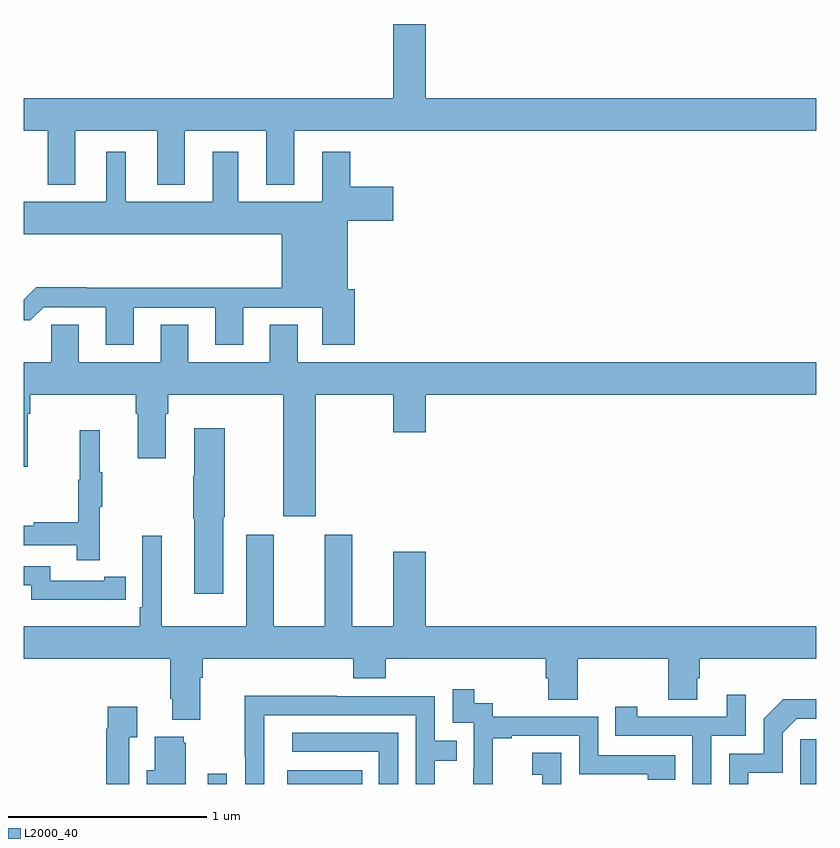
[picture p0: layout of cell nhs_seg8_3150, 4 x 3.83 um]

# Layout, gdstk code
import gdstk
lib = gdstk.Library(unit=1e-6, precision=1e-09)
def R(c, l, rs):  # rectangles x0, y0, x1, y1
    for r in rs: c.add(gdstk.rectangle(r[:2], r[2:], *l))
def P(c, l, *ps):  # polygons
    for p in ps: c.add(gdstk.Polygon(p, *l))
L2000_40 = (2000, 40)

nhs_seg8_3150 = lib.new_cell('nhs_seg8_3150')
R(nhs_seg8_3150, L2000_40, [(307.929,1083.9,308.025,1083.952), (308.33,1083.9,308.708,1083.97), (310.92,1083.9,311,1084.126)])
P(nhs_seg8_3150, L2000_40, [(307.261,1087.196),(307.673,1087.196),(307.673,1086.923),(307.813,1086.923),(307.813,1087.196),(308.225,1087.196),(308.225,1086.923),(308.365,1086.923),(308.365,1087.196),(311,1087.196),(311,1087.36),(309.028,1087.36),(309.028,1087.735),(308.864,1087.735),(308.864,1087.36),(307,1087.36),(307,1087.196),(307.121,1087.196),(307.121,1086.923),(307.261,1086.923)],
  [(307.555,1086.303),(307.967,1086.303),(307.967,1086.117),(308.107,1086.117),(308.107,1086.303),(308.507,1086.303),(308.507,1086.117),(308.672,1086.117),(308.672,1086.396),(308.635,1086.396),(308.635,1086.743),(308.866,1086.743),(308.866,1086.913),(308.648,1086.913),(308.648,1087.09),(308.507,1087.09),(308.507,1086.838),(308.083,1086.838),(308.083,1087.09),(307.955,1087.09),(307.955,1086.838),(307.516,1086.838),(307.516,1087.09),(307.418,1087.09),(307.418,1086.838),(307,1086.838),(307,1086.674),(308.303,1086.674),(308.303,1086.404),(307.319,1086.404),(307.319,1086.407),(307.064,1086.407),(307,1086.343),(307,1086.239),(307.034,1086.239),(307.101,1086.306),(307.415,1086.306),(307.415,1086.117),(307.555,1086.117)],
  [(308.473,1085.864),(308.864,1085.864),(308.864,1085.676),(309.028,1085.676),(309.028,1085.864),(311,1085.864),(311,1086.028),(308.383,1086.028),(308.383,1086.218),(308.243,1086.218),(308.243,1086.028),(307.831,1086.028),(307.831,1086.218),(307.691,1086.218),(307.691,1086.028),(307.279,1086.028),(307.279,1086.218),(307.14,1086.218),(307.14,1086.028),(307,1086.028),(307,1085.502),(307.021,1085.502),(307.021,1085.768),(307.034,1085.768),(307.034,1085.864),(307.565,1085.864),(307.565,1085.768),(307.577,1085.768),(307.577,1085.544),(307.717,1085.544),(307.717,1085.768),(307.73,1085.768),(307.73,1085.864),(308.309,1085.864),(308.309,1085.25),(308.473,1085.25)],
  [(308.008,1085.245),(308.016,1085.245),(308.016,1085.695),(307.862,1085.695),(307.862,1085.456),(307.855,1085.456),(307.855,1085.239),(307.862,1085.239),(307.862,1084.86),(308.008,1084.86)],
  [(307.385,1085.299),(307.396,1085.299),(307.396,1085.473),(307.385,1085.473),(307.385,1085.686),(307.282,1085.686),(307.282,1085.436),(307.275,1085.436),(307.275,1085.222),(307.051,1085.222),(307.051,1085.202),(307,1085.202),(307,1085.106),(307.267,1085.106),(307.267,1085.028),(307.385,1085.028)],
  [(307.891,1084.436),(307.904,1084.436),(307.904,1084.532),(308.663,1084.532),(308.663,1084.433),(308.828,1084.433),(308.828,1084.532),(309.635,1084.532),(309.635,1084.434),(309.647,1084.434),(309.647,1084.324),(309.795,1084.324),(309.795,1084.532),(310.252,1084.532),(310.252,1084.324),(310.399,1084.324),(310.399,1084.434),(310.412,1084.434),(310.412,1084.532),(311,1084.532),(311,1084.696),(309.028,1084.696),(309.028,1085.071),(308.864,1085.071),(308.864,1084.696),(308.659,1084.696),(308.659,1085.158),(308.519,1085.158),(308.519,1084.696),(308.263,1084.696),(308.263,1085.158),(308.123,1085.158),(308.123,1084.696),(307.696,1084.696),(307.696,1085.152),(307.599,1085.152),(307.599,1084.792),(307.586,1084.792),(307.586,1084.696),(307,1084.696),(307,1084.532),(307.739,1084.532),(307.739,1084.33),(307.751,1084.33),(307.751,1084.223),(307.891,1084.223)],
  [(307.406,1084.83),(307.514,1084.83),(307.514,1084.946),(307.406,1084.946),(307.406,1084.926),(307.134,1084.926),(307.134,1084.998),(307,1084.998),(307,1084.902),(307.038,1084.902),(307.038,1084.829),(307.406,1084.829)],
  [(309.368,1084.131),(309.463,1084.131),(309.463,1084.143),(309.804,1084.143),(309.804,1083.948),(310.149,1083.948),(310.149,1083.921),(310.289,1083.921),(310.289,1084.044),(309.9,1084.044),(309.9,1084.239),(309.366,1084.239),(309.366,1084.308),(309.274,1084.308),(309.274,1084.378),(309.165,1084.378),(309.165,1084.209),(309.27,1084.209),(309.27,1083.98),(309.269,1083.98),(309.269,1083.9),(309.368,1083.9)],
  [(310.47,1084.143),(310.644,1084.143),(310.644,1084.351),(310.547,1084.351),(310.547,1084.239),(310.096,1084.239),(310.096,1084.291),(309.985,1084.291),(309.985,1084.143),(310.374,1084.143),(310.374,1083.9),(310.47,1083.9)],
  [(308.214,1084.248),(308.979,1084.248),(308.979,1083.9),(309.075,1083.9),(309.075,1084.018),(309.185,1084.018),(309.185,1084.119),(309.075,1084.119),(309.075,1084.344),(308.579,1084.344),(308.579,1084.346),(308.116,1084.346),(308.116,1084.039),(308.118,1084.039),(308.118,1083.9),(308.214,1083.9)],
  [(310.657,1083.957),(310.83,1083.957),(310.83,1084.158),(310.902,1084.23),(311,1084.23),(311,1084.328),(310.832,1084.328),(310.734,1084.23),(310.734,1084.053),(310.56,1084.053),(310.56,1083.9),(310.657,1083.9)],
  [(307.533,1084.135),(307.573,1084.135),(307.573,1084.291),(307.425,1084.291),(307.425,1084.178),(307.417,1084.178),(307.417,1083.9),(307.533,1083.9)],
  [(308.889,1084.158),(308.355,1084.158),(308.355,1084.062),(308.793,1084.062),(308.793,1083.9),(308.889,1083.9)],
  [(307.819,1084.107),(307.808,1084.107),(307.808,1084.138),(307.661,1084.138),(307.661,1083.97),(307.622,1083.97),(307.622,1083.9),(307.819,1083.9)],
  [(309.714,1084.057),(309.567,1084.057),(309.567,1083.947),(309.616,1083.947),(309.616,1083.9),(309.714,1083.9)])

lib.write_gds('nhs_seg8_3150.gds')
